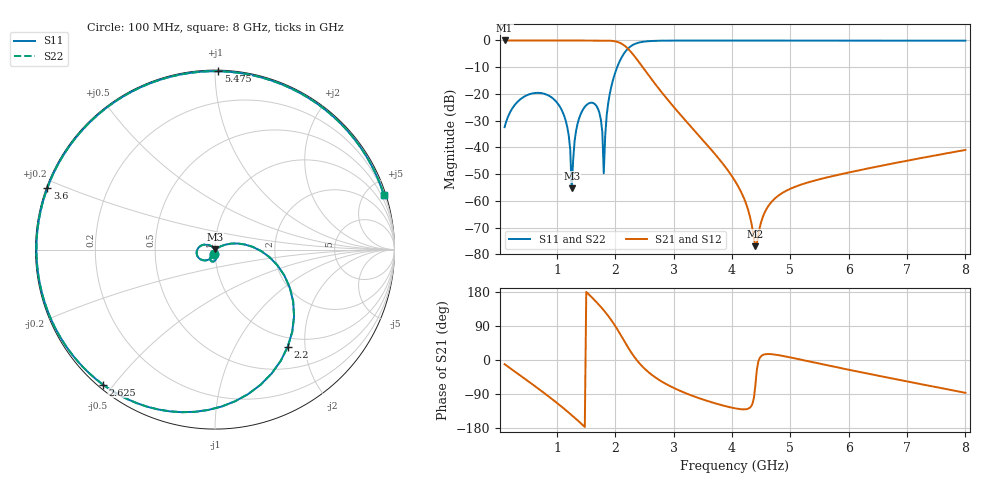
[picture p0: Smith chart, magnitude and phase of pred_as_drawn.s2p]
! Created with skrf 1.13.0 (http://scikit-rf.org).
# Hz S RI R 50.0
!freq ReS11 ImS11 ReS21 ImS21 ReS12 ImS12 ReS22 ImS22
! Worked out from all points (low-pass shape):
!   317 points, 100 MHz to 8 GHz, reference 50 ohm
!   highest |S21| = -0.01 dB at 100 MHz (marker M1); lowest = -77.0 dB at 4.4 GHz (marker M2)
!   |S21| within 3 dB of the highest: start of sweep to 2.211 GHz
!   lowest |S11| = -55.4 dB at 1.25 GHz (marker M3), VSWR 1.00, Z = 49.9 + j0.13 ohm
!   |S11| at or under -10 dB: start of sweep to 2.03 GHz
!   |S22| runs from -55.4 to 0.0 dB; largest |S21 - S12| = 9.1e-12
!   S11 on the Smith chart (normalised r, x): 100 MHz: 0.99, -0.05; 2.2 GHz: 0.84, -1.67; 2.625 GHz: 0.01, -0.47; 3.6 GHz: 0.00, +0.18; 5.475 GHz: 0.01, +1.02; 8 GHz: 0.23, +6.39
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1e8  -0.00434 -0.0235  0.9808 -0.1917  0.9808 -0.1917  -0.00434 -0.0235
4.5e8  -0.0692 -0.0588  0.6411 -0.7607  0.6411 -0.7607  -0.0692 -0.0588
9.5e8  -0.0748 0.0233  -0.2999 -0.9487  -0.2999 -0.9487  -0.0748 0.0235
1.175e9  -0.0167 0.0168  -0.7136 -0.6967  -0.7136 -0.6967  -0.0166 0.017
1.25e9  -0.0011 0.0013  -0.8222 -0.5646  -0.8222 -0.5646  -0.000956 0.00141
1.3e9  0.006 -0.0117  -0.8823 -0.4648  -0.8823 -0.4648  0.00614 -0.0116
1.425e9  0.00852 -0.046  -0.9792 -0.1812  -0.9792 -0.1812  0.00866 -0.0459
1.7e9  -0.0269 -0.0455  -0.8489 0.5181  -0.8489 0.5181  -0.0269 -0.0455
1.775e9  -0.0128 -0.0147  -0.7118 0.6957  -0.7118 0.6957  -0.0129 -0.0147
1.8e9  -0.00146 -0.00293  -0.6545 0.7499  -0.6545 0.7499  -0.00151 -0.00286
1.9e9  0.0903 0.0333  -0.3621 0.9213  -0.3621 0.9213  0.0902 0.0335
2.2e9  0.4054 -0.5405  0.5781 0.4408  0.5781 0.4408  0.4058 -0.5403
2.625e9  -0.6247 -0.7517  0.1428 -0.117  0.1428 -0.117  -0.6245 -0.7518
2.75e9  -0.7895 -0.593  0.0745 -0.0976  0.0745 -0.0976  -0.7894 -0.5931
3.6e9  -0.9338 0.3443  -0.00337 -0.00968  -0.00337 -0.00968  -0.9337 0.3444
4.05e9  -0.7535 0.6499  -0.00143 -0.00187  -0.00143 -0.00187  -0.7534 0.65
4.4e9  -0.5749 0.8119  5.85e-05 -0.000129  5.85e-05 -0.000129  -0.5748 0.812
4.675e9  -0.4242 0.8997  0.000917 0.000251  0.000917 0.000251  -0.424 0.8998
5.375e9  -0.0352 0.9934  0.00232 -0.00022  0.00232 -0.00022  -0.035 0.9934
5.475e9  0.0187 0.9937  0.00246 -0.000378  0.00246 -0.000378  0.0189 0.9937
6.7e9  0.5918 0.7963  0.00328 -0.00358  0.00328 -0.00358  0.5918 0.7964
8e9  0.9418 0.3019  0.000535 -0.00892  0.000535 -0.00892  0.9417 0.3024
